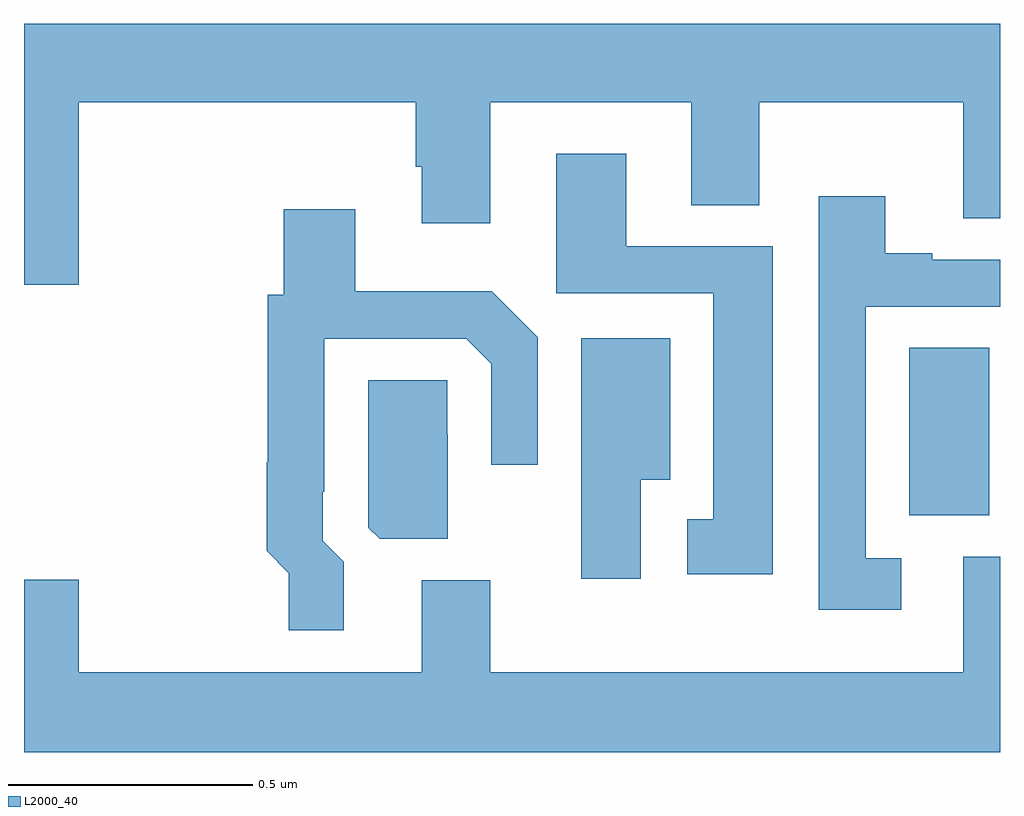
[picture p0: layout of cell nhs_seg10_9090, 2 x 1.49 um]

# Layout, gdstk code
import gdstk
lib = gdstk.Library(unit=1e-6, precision=1e-09)
def R(c, l, rs):  # rectangles x0, y0, x1, y1
    for r in rs: c.add(gdstk.rectangle(r[:2], r[2:], *l))
def P(c, l, *ps):  # polygons
    for p in ps: c.add(gdstk.Polygon(p, *l))
L2000_40 = (2000, 40)

nhs_seg10_9090 = lib.new_cell('nhs_seg10_9090')
R(nhs_seg10_9090, L2000_40, [(226.814,1275.493,226.978,1275.836)])
P(nhs_seg10_9090, L2000_40, [(225.112,1276.34),(225.803,1276.34),(225.803,1276.207),(225.815,1276.207),(225.815,1276.092),(225.955,1276.092),(225.955,1276.34),(226.367,1276.34),(226.367,1276.129),(226.507,1276.129),(226.507,1276.34),(226.925,1276.34),(226.925,1276.102),(227,1276.102),(227,1276.5),(225,1276.5),(225,1275.966),(225.112,1275.966)],
  [(226.534,1276.044),(226.234,1276.044),(226.234,1276.234),(226.091,1276.234),(226.091,1275.948),(226.412,1275.948),(226.412,1275.485),(226.359,1275.485),(226.359,1275.372),(226.534,1275.372)],
  [(226.798,1275.405),(226.725,1275.405),(226.725,1275.921),(227,1275.921),(227,1276.017),(226.861,1276.017),(226.861,1276.03),(226.765,1276.03),(226.765,1276.147),(226.629,1276.147),(226.629,1275.3),(226.798,1275.3)],
  [(225.655,1275.398),(225.612,1275.441),(225.612,1275.541),(225.615,1275.541),(225.615,1275.855),(225.906,1275.855),(225.957,1275.804),(225.957,1275.597),(226.053,1275.597),(226.053,1275.858),(225.959,1275.952),(225.679,1275.952),(225.679,1276.12),(225.532,1276.12),(225.532,1275.945),(225.499,1275.945),(225.499,1275.602),(225.497,1275.602),(225.497,1275.42),(225.543,1275.374),(225.543,1275.258),(225.655,1275.258)],
  [(226.264,1275.566),(226.324,1275.566),(226.324,1275.856),(226.142,1275.856),(226.142,1275.363),(226.264,1275.363)],
  [(225.868,1275.659),(225.867,1275.659),(225.867,1275.77),(225.705,1275.77),(225.705,1275.468),(225.729,1275.445),(225.868,1275.445)],
  [(227,1275.408),(226.925,1275.408),(226.925,1275.172),(225.955,1275.172),(225.955,1275.36),(225.815,1275.36),(225.815,1275.172),(225.112,1275.172),(225.112,1275.361),(225,1275.361),(225,1275.008),(227,1275.008)])

lib.write_gds('nhs_seg10_9090.gds')
